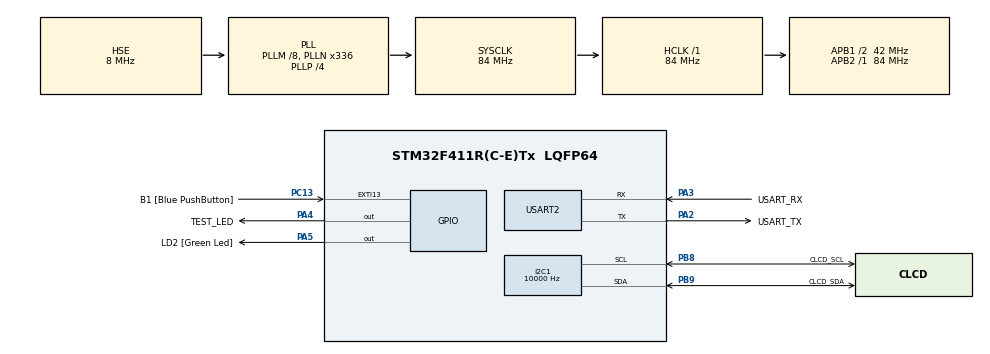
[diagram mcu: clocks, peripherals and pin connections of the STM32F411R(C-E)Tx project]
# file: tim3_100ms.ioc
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I2C1.ClockSpeed=10000
Mcu.Family=STM32F4
Mcu.Name=STM32F411R(C-E)Tx
Mcu.Package=LQFP64
NVIC.PriorityGroup=NVIC_PRIORITYGROUP_0
NVIC.TIM3_IRQn=true\:0\:0\:false\:false\:true\:true\:true\:true
PA13.GPIO_Label=TMS
PA13.Mode=Serial_Wire
PA13.Signal=SYS_JTMS-SWDIO
PA14.GPIO_Label=TCK
PA14.Mode=Serial_Wire
PA14.Signal=SYS_JTCK-SWCLK
PA2.GPIO_Label=USART_TX
PA2.Mode=Asynchronous
PA2.Signal=USART2_TX
PA3.GPIO_Label=USART_RX
PA3.Mode=Asynchronous
PA3.Signal=USART2_RX
PA4.GPIO_Label=TEST_LED
PA4.Signal=GPIO_Output
PA5.GPIO_Label=LD2 [Green Led]
PA5.Signal=GPIO_Output
PB3.GPIO_Label=SWO
PB3.Signal=SYS_JTDO-SWO
PB8.GPIO_Label=CLCD_SCL
PB8.GPIO_Mode=GPIO_MODE_AF_OD
PB8.GPIO_Pu=GPIO_NOPULL
PB8.GPIO_Speed=GPIO_SPEED_FREQ_VERY_HIGH
PB8.Mode=I2C
PB8.Signal=I2C1_SCL
PB9.GPIO_Label=CLCD_SDA
PB9.Mode=I2C
PB9.Signal=I2C1_SDA
PC13-ANTI_TAMP.GPIO_Label=B1 [Blue PushButton]
PC13-ANTI_TAMP.GPIO_ModeDefaultEXTI=GPIO_MODE_IT_FALLING
PC13-ANTI_TAMP.Signal=GPXTI13
PC14-OSC32_IN.Signal=RCC_OSC32_IN
PC15-OSC32_OUT.Signal=RCC_OSC32_OUT
PH0\ -\ OSC_IN.Mode=HSE-External-Oscillator
PH0\ -\ OSC_IN.Signal=RCC_OSC_IN
PH1\ -\ OSC_OUT.Mode=HSE-External-Oscillator
PH1\ -\ OSC_OUT.Signal=RCC_OSC_OUT
ProjectManager.HeapSize=0x200
ProjectManager.StackSize=0x400
ProjectManager.TargetToolchain=STM32CubeIDE
RCC.48MHZClocksFreq_Value=84000000
RCC.AHBFreq_Value=84000000
RCC.APB1CLKDivider=RCC_HCLK_DIV2
RCC.APB1Freq_Value=42000000
RCC.APB1TimFreq_Value=84000000
RCC.APB2Freq_Value=84000000
RCC.APB2TimFreq_Value=84000000
RCC.CortexFreq_Value=84000000
RCC.FLatency-AdvancedSettings=FLASH_LATENCY_2
RCC.HCLKFreq_Value=84000000
RCC.HSE_VALUE=8000000
RCC.HSI_VALUE=16000000
RCC.PLLM=8
RCC.PLLN=336
RCC.PLLP=RCC_PLLP_DIV4
RCC.PLLSourceVirtual=RCC_PLLSOURCE_HSE
RCC.SYSCLKFreq_VALUE=84000000
RCC.SYSCLKSource=RCC_SYSCLKSOURCE_PLLCLK
RCC.VCOOutputFreq_Value=336000000
TIM3.AutoReloadPreload=TIM_AUTORELOAD_PRELOAD_ENABLE
TIM3.Period=10000-1
TIM3.Prescaler=840-1
USART2.VirtualMode=VM_ASYNC
VP_TIM3_VS_ClockSourceINT.Mode=Internal
board=NUCLEO-F411RE

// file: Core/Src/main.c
/* USER CODE BEGIN Header */
/**
  ******************************************************************************
  * @file           : main.c
  * @brief          : Main program body
  ******************************************************************************
  * @attention
  *
  * Copyright (c) 2024 STMicroelectronics.
  * All rights reserved.
  *
  * This software is licensed under terms that can be found in the LICENSE file
  * in the root directory of this software component.
  * If no LICENSE file comes with this software, it is provided AS-IS.
  *
  ******************************************************************************
  */
/* USER CODE END Header */
#include "main.h"

/* USER CODE BEGIN Includes */
#include <stdio.h>
/* USER CODE END Includes */

/* USER CODE BEGIN PD */
#ifdef __GNUC__
/* With GCC, small printf (option LD Linker->Libraries->Small printf
   set to 'Yes') calls __io_putchar() */
#define PUTCHAR_PROTOTYPE int __io_putchar(int ch)
#else
#define PUTCHAR_PROTOTYPE int fputc(int ch, FILE *f)
#endif /* __GNUC__ */
/* USER CODE END PD */

I2C_HandleTypeDef hi2c1;

TIM_HandleTypeDef htim3;

UART_HandleTypeDef huart2;

/* USER CODE BEGIN PV */
__IO unsigned int tim3Flag1Sec = 0;
__IO unsigned int tim3Flag500Ms = 0;
__IO unsigned int tim3Sec = 0;
__IO unsigned int tim3Cnt = 0;
/* USER CODE END PV */

void SystemClock_Config(void);
static void MX_GPIO_Init(void);
static void MX_USART2_UART_Init(void);
static void MX_TIM3_Init(void);
static void MX_I2C1_Init(void);

int main(void)
{

  /* MCU Configuration--------------------------------------------------------*/

  /* Reset of all peripherals, Initializes the Flash interface and the Systick. */
  HAL_Init();

  /* Configure the system clock */
  SystemClock_Config();

  /* Initialize all configured peripherals */
  MX_GPIO_Init();
  MX_USART2_UART_Init();
  MX_TIM3_Init();
  MX_I2C1_Init();
  /* USER CODE BEGIN 2 */
  printf("start main() - tm3_100ms\r\n");
  printf("pi : %.2lf\r\n", 3.14159);
  HAL_TIM_Base_Start_IT(&htim3);

  LCD_init(&hi2c1);
  LCD_writeStringXY(0, 0, "T 12:00:00 AM   ");
  LCD_writeStringXY(1, 0, "A 12:00:00 AM   ");
  /* USER CODE END 2 */

  /* Infinite loop */
  /* USER CODE BEGIN WHILE */
  while (1)
  {
	  if(tim3Flag500Ms)
	  {
		  tim3Flag500Ms = 0;
		  HAL_GPIO_TogglePin(TEST_LED_GPIO_Port,TEST_LED_Pin);
	  }
	  if(tim3Flag1Sec)
	  {
		  tim3Flag1Sec = 0;
		  HAL_GPIO_TogglePin(LD2_GPIO_Port,LD2_Pin);
	  }

    /* USER CODE END WHILE */

  }
}

void SystemClock_Config(void)
{
  RCC_OscInitTypeDef RCC_OscInitStruct = {0};
  RCC_ClkInitTypeDef RCC_ClkInitStruct = {0};

  /** Configure the main internal regulator output voltage
  */
  __HAL_RCC_PWR_CLK_ENABLE();
  __HAL_PWR_VOLTAGESCALING_CONFIG(PWR_REGULATOR_VOLTAGE_SCALE1);

  /** Initializes the RCC Oscillators according to the specified parameters
  * in the RCC_OscInitTypeDef structure.
  */
  RCC_OscInitStruct.OscillatorType = RCC_OSCILLATORTYPE_HSE;
  RCC_OscInitStruct.HSEState = RCC_HSE_ON;
  RCC_OscInitStruct.PLL.PLLState = RCC_PLL_ON;
  RCC_OscInitStruct.PLL.PLLSource = RCC_PLLSOURCE_HSE;
  RCC_OscInitStruct.PLL.PLLM = 8;
  RCC_OscInitStruct.PLL.PLLN = 336;
  RCC_OscInitStruct.PLL.PLLP = RCC_PLLP_DIV4;
  RCC_OscInitStruct.PLL.PLLQ = 4;
  if (HAL_RCC_OscConfig(&RCC_OscInitStruct) != HAL_OK)
  {
    Error_Handler();
  }

  /** Initializes the CPU, AHB and APB buses clocks
  */
  RCC_ClkInitStruct.ClockType = RCC_CLOCKTYPE_HCLK|RCC_CLOCKTYPE_SYSCLK
                              |RCC_CLOCKTYPE_PCLK1|RCC_CLOCKTYPE_PCLK2;
  RCC_ClkInitStruct.SYSCLKSource = RCC_SYSCLKSOURCE_PLLCLK;
  RCC_ClkInitStruct.AHBCLKDivider = RCC_SYSCLK_DIV1;
  RCC_ClkInitStruct.APB1CLKDivider = RCC_HCLK_DIV2;
  RCC_ClkInitStruct.APB2CLKDivider = RCC_HCLK_DIV1;

  if (HAL_RCC_ClockConfig(&RCC_ClkInitStruct, FLASH_LATENCY_2) != HAL_OK)
  {
    Error_Handler();
  }
}

static void MX_I2C1_Init(void)
{

  hi2c1.Instance = I2C1;
  hi2c1.Init.ClockSpeed = 10000;
  hi2c1.Init.DutyCycle = I2C_DUTYCYCLE_2;
  hi2c1.Init.OwnAddress1 = 0;
  hi2c1.Init.AddressingMode = I2C_ADDRESSINGMODE_7BIT;
  hi2c1.Init.DualAddressMode = I2C_DUALADDRESS_DISABLE;
  hi2c1.Init.OwnAddress2 = 0;
  hi2c1.Init.GeneralCallMode = I2C_GENERALCALL_DISABLE;
  hi2c1.Init.NoStretchMode = I2C_NOSTRETCH_DISABLE;
  if (HAL_I2C_Init(&hi2c1) != HAL_OK)
  {
    Error_Handler();
  }

}

static void MX_TIM3_Init(void)
{

  TIM_ClockConfigTypeDef sClockSourceConfig = {0};
  TIM_MasterConfigTypeDef sMasterConfig = {0};

  htim3.Instance = TIM3;
  htim3.Init.Prescaler = 840-1;
  htim3.Init.CounterMode = TIM_COUNTERMODE_UP;
  htim3.Init.Period = 10000-1;
  htim3.Init.ClockDivision = TIM_CLOCKDIVISION_DIV1;
  htim3.Init.AutoReloadPreload = TIM_AUTORELOAD_PRELOAD_ENABLE;
  if (HAL_TIM_Base_Init(&htim3) != HAL_OK)
  {
    Error_Handler();
  }
  sClockSourceConfig.ClockSource = TIM_CLOCKSOURCE_INTERNAL;
  if (HAL_TIM_ConfigClockSource(&htim3, &sClockSourceConfig) != HAL_OK)
  {
    Error_Handler();
  }
  sMasterConfig.MasterOutputTrigger = TIM_TRGO_RESET;
  sMasterConfig.MasterSlaveMode = TIM_MASTERSLAVEMODE_DISABLE;
  if (HAL_TIMEx_MasterConfigSynchronization(&htim3, &sMasterConfig) != HAL_OK)
  {
    Error_Handler();
  }

}

static void MX_USART2_UART_Init(void)
{

  huart2.Instance = USART2;
  huart2.Init.BaudRate = 115200;
  huart2.Init.WordLength = UART_WORDLENGTH_8B;
  huart2.Init.StopBits = UART_STOPBITS_1;
  huart2.Init.Parity = UART_PARITY_NONE;
  huart2.Init.Mode = UART_MODE_TX_RX;
  huart2.Init.HwFlowCtl = UART_HWCONTROL_NONE;
  huart2.Init.OverSampling = UART_OVERSAMPLING_16;
  if (HAL_UART_Init(&huart2) != HAL_OK)
  {
    Error_Handler();
  }

}

static void MX_GPIO_Init(void)
{
  GPIO_InitTypeDef GPIO_InitStruct = {0};

  /* GPIO Ports Clock Enable */
  __HAL_RCC_GPIOC_CLK_ENABLE();
  __HAL_RCC_GPIOH_CLK_ENABLE();
  __HAL_RCC_GPIOA_CLK_ENABLE();
  __HAL_RCC_GPIOB_CLK_ENABLE();

  /*Configure GPIO pin Output Level */
  HAL_GPIO_WritePin(GPIOA, TEST_LED_Pin|LD2_Pin, GPIO_PIN_RESET);

  /*Configure GPIO pin : B1_Pin */
  GPIO_InitStruct.Pin = B1_Pin;
  GPIO_InitStruct.Mode = GPIO_MODE_IT_FALLING;
  GPIO_InitStruct.Pull = GPIO_NOPULL;
  HAL_GPIO_Init(B1_GPIO_Port, &GPIO_InitStruct);

  /*Configure GPIO pins : TEST_LED_Pin LD2_Pin */
  GPIO_InitStruct.Pin = TEST_LED_Pin|LD2_Pin;
  GPIO_InitStruct.Mode = GPIO_MODE_OUTPUT_PP;
  GPIO_InitStruct.Pull = GPIO_NOPULL;
  GPIO_InitStruct.Speed = GPIO_SPEED_FREQ_LOW;
  HAL_GPIO_Init(GPIOA, &GPIO_InitStruct);

}

/* USER CODE BEGIN 4 */
/**
  * @brief  Retargets the C library printf function to the USART.
  * @param  None
  * @retval None
  */
PUTCHAR_PROTOTYPE
{
  /* Place your implementation of fputc here */
  /* e.g. write a character to the USART6 and Loop until the end of transmission */
  HAL_UART_Transmit(&huart2, (uint8_t *)&ch, 1, 0xFFFF);

  return ch;
}
void HAL_TIM_PeriodElapsedCallback(TIM_HandleTypeDef *htim)	//100ms ?��?��?��?��
{
	tim3Cnt++;
	if(!(tim3Cnt%5))
	{
		tim3Flag500Ms = 1;
		if(tim3Cnt >= 10)	//100ms * 10 = 1Sec
		{
			tim3Flag1Sec = 1;
			tim3Sec++;
			tim3Cnt = 0;
		}
	}

}
/* USER CODE END 4 */

void Error_Handler(void)
{
  __disable_irq();
  while (1)
  {
  }
}
